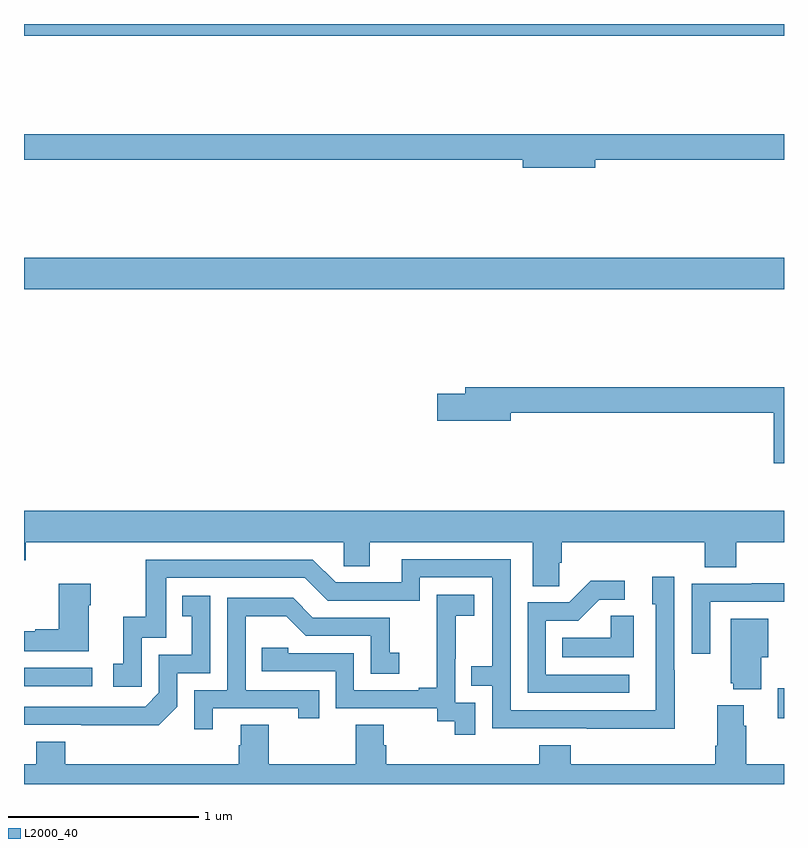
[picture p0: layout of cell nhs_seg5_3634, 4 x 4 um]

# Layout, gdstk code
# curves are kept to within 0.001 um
import gdstk
lib = gdstk.Library(unit=1e-6, precision=1e-09)
def R(c, l, rs):  # rectangles x0, y0, x1, y1
    for r in rs: c.add(gdstk.rectangle(r[:2], r[2:], *l))
def P(c, l, *ps):  # polygons
    for p in ps: c.add(gdstk.Polygon(p, *l))
L2000_40 = (2000, 40)

nhs_seg5_3634 = lib.new_cell('nhs_seg5_3634')
R(nhs_seg5_3634, L2000_40, [(328.967,877.146,329,877.302), (325,877.314,325.36,877.41), (325,879.404,329,879.568), (325,880.736,329,880.799)])
P(nhs_seg5_3634, L2000_40, [(328.006,880.084),(329,880.084),(329,880.22),(325,880.22),(325,880.084),(327.626,880.084),(327.626,880.042),(328.006,880.042)],
  [(329,878.888),(327.323,878.888),(327.323,878.852),(327.174,878.852),(327.174,878.71),(327.562,878.71),(327.562,878.752),(328.946,878.752),(328.946,878.487),(329,878.487)],
  [(325,877.976),(325.01,877.976),(325.01,878.072),(326.682,878.072),(326.682,877.945),(326.821,877.945),(326.821,878.072),(327.677,878.072),(327.677,877.84),(327.816,877.84),(327.816,877.963),(327.83,877.963),(327.83,878.072),(328.583,878.072),(328.583,877.939),(328.748,877.939),(328.748,878.072),(329,878.072),(329,878.236),(325,878.236)],
  [(328.425,877.397),(328.422,877.397),(328.422,877.891),(328.307,877.891),(328.307,877.746),(328.326,877.746),(328.326,877.188),(327.561,877.188),(327.561,877.983),(326.987,877.983),(326.987,877.86),(326.64,877.86),(326.52,877.98),(325.641,877.98),(325.641,877.678),(325.523,877.678),(325.523,877.431),(325.47,877.431),(325.47,877.311),(325.62,877.311),(325.62,877.569),(325.749,877.569),(325.749,877.884),(326.478,877.884),(326.598,877.764),(327.084,877.764),(327.084,877.887),(327.465,877.887),(327.465,877.418),(327.355,877.418),(327.355,877.317),(327.465,877.317),(327.465,877.092),(328.425,877.091)],
  [(328.186,877.374),(327.747,877.374),(327.747,877.659),(327.916,877.659),(328.027,877.77),(328.162,877.77),(328.162,877.868),(327.983,877.868),(327.87,877.755),(327.651,877.755),(327.651,877.278),(328.186,877.278)],
  [(328.611,877.758),(329,877.758),(329,877.856),(328.831,877.856),(328.831,877.854),(328.515,877.854),(328.515,877.485),(328.611,877.485)],
  [(325.342,877.739),(325.35,877.739),(325.35,877.852),(325.184,877.852),(325.184,877.613),(325.058,877.613),(325.058,877.603),(325,877.603),(325,877.499),(325.342,877.499)],
  [(327.375,877.227),(327.27,877.227),(327.27,877.457),(327.272,877.457),(327.272,877.685),(327.37,877.685),(327.37,877.795),(327.172,877.795),(327.172,877.589),(327.173,877.589),(327.173,877.306),(327.077,877.306),(327.077,877.293),(326.736,877.293),(326.736,877.488),(326.391,877.488),(326.391,877.515),(326.251,877.515),(326.251,877.392),(326.64,877.392),(326.64,877.197),(327.174,877.197),(327.174,877.129),(327.267,877.129),(327.267,877.059),(327.375,877.059)],
  [(325.806,877.206),(325.806,877.383),(325.98,877.383),(325.98,877.789),(325.834,877.789),(325.834,877.683),(325.883,877.683),(325.883,877.479),(325.71,877.479),(325.71,877.278),(325.638,877.206),(325,877.206),(325,877.11),(325.708,877.109)],
  [(325.993,877.197),(326.444,877.197),(326.444,877.146),(326.555,877.146),(326.555,877.293),(326.166,877.293),(326.166,877.682),(326.38,877.682),(326.484,877.578),(326.826,877.578),(326.826,877.38),(326.974,877.38),(326.974,877.489),(326.925,877.489),(326.925,877.674),(326.521,877.674),(326.416,877.779),(326.07,877.779),(326.07,877.293),(325.896,877.293),(325.896,877.086),(325.993,877.086)],
  [(328.21,877.685),(328.089,877.685),(328.089,877.57),(327.832,877.57),(327.832,877.466),(328.21,877.466)],
  [(328.879,877.466),(328.918,877.466),(328.918,877.669),(328.721,877.669),(328.721,877.329),(328.733,877.329),(328.733,877.298),(328.879,877.298)],
  [(329,876.904),(328.802,876.904),(328.802,877.106),(328.789,877.106),(328.789,877.213),(328.649,877.213),(328.649,877),(328.637,877),(328.637,876.904),(327.878,876.904),(327.878,877.003),(327.713,877.003),(327.713,876.904),(326.906,876.904),(326.906,877.002),(326.893,877.002),(326.893,877.112),(326.746,877.112),(326.746,876.904),(326.289,876.904),(326.289,877.112),(326.141,877.112),(326.141,877.002),(326.129,877.002),(326.129,876.904),(325.217,876.904),(325.217,877.021),(325.064,877.021),(325.064,876.904),(325,876.904),(325,876.799),(329,876.799)])

lib.write_gds('nhs_seg5_3634.gds')
